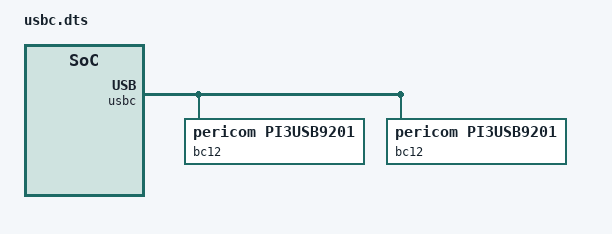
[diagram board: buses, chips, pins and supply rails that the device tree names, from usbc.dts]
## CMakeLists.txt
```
<<<<<<< HEAD   (caf383 driver: add ICM-42607 driver support)
=======
# Copyright 2020 The Chromium OS Authors. All rights reserved.
# Use of this source code is governed by a BSD-style license that can be
# found in the LICENSE file.
# SPDX-License-Identifier: Apache-2.0

cmake_minimum_required(VERSION 3.13.1)

find_package(Zephyr REQUIRED HINTS $ENV{ZEPHYR_BASE})
project(volteer)

set(PLATFORM_EC_BOARD "${PLATFORM_EC}/board/volteer" CACHE PATH
    "Path to the platform/ec board directory")
set(PLATFORM_EC_BASEBOARD "${PLATFORM_EC}/baseboard/volteer" CACHE PATH
    "Path to the platform/ec baseboard directory")

# Include board specific header files
zephyr_library_include_directories(
  include
  "${PLATFORM_EC_BASEBOARD}"
  "${PLATFORM_EC_BOARD}")

# Include selected EC source for the baseboard
zephyr_library_sources_ifdef(CONFIG_PLATFORM_EC_BATTERY
  "${PLATFORM_EC_BASEBOARD}/battery_presence.c")
zephyr_library_sources_ifdef(CONFIG_PLATFORM_EC_CHARGE_MANAGER
  "${PLATFORM_EC_BASEBOARD}/charger.c")
zephyr_library_sources_ifdef(CONFIG_PLATFORM_EC_CBI_EEPROM
  "${PLATFORM_EC_BASEBOARD}/cbi.c"
  "${PLATFORM_EC_BASEBOARD}/cbi_ec_fw_config.c")
zephyr_library_sources_ifdef(CONFIG_PLATFORM_EC_POWERSEQ
  "${PLATFORM_EC_BASEBOARD}/power.c")
zephyr_library_sources_ifdef(CONFIG_PLATFORM_EC_USB_POWER_DELIVERY
  "${PLATFORM_EC_BASEBOARD}/usb_pd_policy.c")
zephyr_library_sources_ifdef(CONFIG_PLATFORM_EC_USBC
  "${PLATFORM_EC_BASEBOARD}/usbc_config.c")

# Include selected EC source for the board
zephyr_library_sources_ifdef(CONFIG_PLATFORM_EC_BATTERY
  "${PLATFORM_EC_BOARD}/battery.c")
zephyr_library_sources_ifdef(CONFIG_PLATFORM_EC_CBI_EEPROM
  "${PLATFORM_EC_BOARD}/cbi.c")
zephyr_library_sources_ifdef(CONFIG_PLATFORM_EC_LED_COMMON
  "${PLATFORM_EC_BOARD}/led.c")
zephyr_library_sources_ifdef(CONFIG_PLATFORM_EC_USBC
  "${PLATFORM_EC_BOARD}/usbc_config.c")
>>>>>>> CHANGE (2eb53a lid_angle: Create a common callback for lid angle changes)
```

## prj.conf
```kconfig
<<<<<<< HEAD   (8c53b8 battery: Set EC_BATT_FLAG_INVALID_DATA correctly)
=======
# Copyright 2021 The Chromium OS Authors. All rights reserved.
# Use of this source code is governed by a BSD-style license that can be
# found in the LICENSE file.

CONFIG_CROS_EC=y

CONFIG_WATCHDOG=y

# SoC configuration
CONFIG_AP=y
CONFIG_AP_X86_INTEL_TGL=y
CONFIG_FPU=y
CONFIG_ARM_MPU=y

# eSPI
CONFIG_ESPI=y
CONFIG_PLATFORM_EC_ESPI_VW_SLP_S4=y
CONFIG_PLATFORM_EC_ESPI_VW_SLP_S5=y

CONFIG_PLATFORM_EC=y
CONFIG_SHIMMED_TASKS=y
CONFIG_I2C=y
CONFIG_PLATFORM_EC_EXTPOWER_GPIO=y
CONFIG_PLATFORM_EC_LID_SWITCH=y
CONFIG_PLATFORM_EC_POWER_BUTTON=y
CONFIG_PLATFORM_EC_CBI_EEPROM=y
CONFIG_PLATFORM_EC_CONSOLE_CMD_HCDEBUG=n
CONFIG_PLATFORM_EC_CONSOLE_CMD_CHGRAMP=n

# Keyboard
CONFIG_PLATFORM_EC_KEYBOARD=y
CONFIG_PLATFORM_EC_KEYBOARD_COL2_INVERTED=y
CONFIG_PLATFORM_EC_KEYBOARD_KEYPAD=y
CONFIG_PLATFORM_EC_KEYBOARD_PWRBTN_ASSERTS_KSI2=y
CONFIG_PLATFORM_EC_VOLUME_BUTTONS=y

# Battery
CONFIG_PLATFORM_EC_BATTERY=y
CONFIG_PLATFORM_EC_BATTERY_SMART=y
CONFIG_PLATFORM_EC_BATTERY_FUEL_GAUGE=y
CONFIG_PLATFORM_EC_BATTERY_CUT_OFF=y

CONFIG_PLATFORM_EC_BATTERY_HW_PRESENT_CUSTOM=y
CONFIG_PLATFORM_EC_BATTERY_REVIVE_DISCONNECT=y
CONFIG_PLATFORM_EC_CHARGER_DISCHARGE_ON_AC=y
CONFIG_PLATFORM_EC_CHARGER_DISCHARGE_ON_AC_CHARGER=y

# Keyboard Backlight
CONFIG_PLATFORM_EC_PWM_KBLIGHT=y

# LED
CONFIG_PLATFORM_EC_LED_COMMON=y
CONFIG_PLATFORM_EC_LED_PWM=y
CONFIG_PLATFORM_EC_CONSOLE_CMD_LEDTEST=n

# Power Sequencing
CONFIG_PLATFORM_EC_POWERSEQ=y
CONFIG_PLATFORM_EC_POWERSEQ_RTC_RESET=y
CONFIG_PLATFORM_EC_POWERSEQ_S0IX=y
CONFIG_PLATFORM_EC_POWERSEQ_S4=y
CONFIG_PLATFORM_EC_POWER_SLEEP_FAILURE_DETECTION=y
CONFIG_PLATFORM_EC_THROTTLE_AP=y

# PWM
CONFIG_PWM=y
CONFIG_PWM_SHELL=n
CONFIG_PLATFORM_EC_PWM=y

# Fan
CONFIG_PLATFORM_EC_FAN=y
CONFIG_SENSOR=y
CONFIG_SENSOR_SHELL=n
CONFIG_TACH_NPCX=y

# Sensors
CONFIG_PLATFORM_EC_MOTIONSENSE=y
CONFIG_PLATFORM_EC_ACCEL_FIFO=y
CONFIG_PLATFORM_EC_ACCEL_INTERRUPTS=y
CONFIG_PLATFORM_EC_ALS=y
CONFIG_PLATFORM_EC_ALS_COUNT=1
CONFIG_PLATFORM_EC_DYNAMIC_MOTION_SENSOR_COUNT=y
CONFIG_PLATFORM_EC_GMR_TABLET_MODE=y
CONFIG_PLATFORM_EC_LID_ANGLE=y
CONFIG_PLATFORM_EC_LID_ANGLE_UPDATE=y
CONFIG_PLATFORM_EC_SENSOR_TIGHT_TIMESTAMPS=y
CONFIG_PLATFORM_EC_TABLET_MODE=y

# Sensor Drivers
CONFIG_PLATFORM_EC_ACCEL_BMA255=y
CONFIG_PLATFORM_EC_ACCELGYRO_BMI260=y
CONFIG_PLATFORM_EC_ACCELGYRO_BMI_COMM_I2C=y
CONFIG_PLATFORM_EC_ALS_TCS3400=y

# Temperature sensors
CONFIG_PLATFORM_EC_TEMP_SENSOR=y
CONFIG_PLATFORM_EC_TEMP_SENSOR_POWER=y
CONFIG_PLATFORM_EC_THERMISTOR=y

# Miscellaneous configs
CONFIG_PLATFORM_EC_BOARD_RESET_AFTER_POWER_ON=y
CONFIG_PLATFORM_EC_HIBERNATE_PSL=y

# MKBP event
CONFIG_PLATFORM_EC_MKBP_EVENT=y
CONFIG_PLATFORM_EC_MKBP_USE_GPIO=y

# USB-C and charging
CONFIG_PLATFORM_EC_CHARGER_ISL9241=y
CONFIG_PLATFORM_EC_CHARGER_MIN_BAT_PCT_FOR_POWER_ON=3
CONFIG_PLATFORM_EC_CHARGER_MIN_BAT_PCT_FOR_POWER_ON_WITH_AC=1
CONFIG_PLATFORM_EC_CHARGER_MIN_POWER_MW_FOR_POWER_ON_WITH_BATT=15000
CONFIG_PLATFORM_EC_CHARGER_MIN_POWER_MW_FOR_POWER_ON=15001
CONFIG_PLATFORM_EC_CHARGER_SENSE_RESISTOR=10
CONFIG_PLATFORM_EC_CHARGER_SENSE_RESISTOR_AC=10
CONFIG_PLATFORM_EC_BC12_DETECT_PI3USB9201=y
CONFIG_PLATFORM_EC_USB_PID=0x503e
CONFIG_PLATFORM_EC_USBC_PPC_SN5S330=y
CONFIG_PLATFORM_EC_USBC_PPC_SYV682X=y
CONFIG_PLATFORM_EC_USBC_RETIMER_INTEL_BB=y
CONFIG_PLATFORM_EC_USB_DRP_ACC_TRYSRC=y
CONFIG_PLATFORM_EC_USB_MUX_VIRTUAL=y
CONFIG_PLATFORM_EC_USB_PD_DEBUG_FIXED_LEVEL=y
CONFIG_PLATFORM_EC_USB_PD_DEBUG_LEVEL=2
CONFIG_PLATFORM_EC_USB_PD_ALT_MODE_UFP=y
CONFIG_PLATFORM_EC_USB_PD_VBUS_MEASURE_CHARGER=y
CONFIG_PLATFORM_EC_USB_PD_DISCHARGE_PPC=y
CONFIG_PLATFORM_EC_USB_PD_FRS=y
CONFIG_PLATFORM_EC_USB_PD_FRS_PPC=y
CONFIG_PLATFORM_EC_USB_PD_REV30=y
CONFIG_PLATFORM_EC_BATTERY_FUEL_GAUGE=y
CONFIG_PLATFORM_EC_USB_PD_VBUS_DETECT_TCPC=y
CONFIG_PLATFORM_EC_USB_PD_TCPM_PS8815=y
CONFIG_PLATFORM_EC_USB_PD_TCPM_RT1715=y
CONFIG_PLATFORM_EC_USB_PD_TCPM_TUSB422=y
CONFIG_PLATFORM_EC_USB_PD_TCPM_MUX=y
CONFIG_PLATFORM_EC_USBC_PPC_DEDICATED_INT=y
CONFIG_PLATFORM_EC_USB_A_PORT_COUNT=1
CONFIG_PLATFORM_EC_CONSOLE_CMD_PPC_DUMP=n
CONFIG_PLATFORM_EC_CONSOLE_CMD_TCPC_DUMP=n

# Flash
CONFIG_PLATFORM_EC_CONSOLE_CMD_FLASH=n

# RTC
CONFIG_PLATFORM_EC_RTC=y

CONFIG_SYSCON=y
>>>>>>> CHANGE (eb25e8 Merge remote-tracking branch cros/main into firmware-dedede-)
```

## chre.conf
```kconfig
# Copyright 2021 The Chromium OS Authors. All rights reserved.
# Use of this source code is governed by a BSD-style license that can be
# found in the LICENSE file.

# To build using CHRE append the contents of this file to prj.conf then run:
# $ zmake configure -b zephyr/projects/volteer/volteer

CONFIG_CHRE=y
CONFIG_STD_CPP11=y
```

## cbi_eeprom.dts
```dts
/* Copyright 2021 The Chromium OS Authors. All rights reserved.
 * Use of this source code is governed by a BSD-style license that can be
 * found in the LICENSE file.
 */

/ {
	aliases {
		cbi-wp = &gpio_wp;
	};
};

&i2c7_0 {
	cbi_eeprom: eeprom@50 {
		compatible = "atmel,at24";
		reg = <0x50>;
		label = "EEPROM_CBI";
		size = <2048>;
		pagesize = <16>;
		address-width = <8>;
		timeout = <5>;
	};
};

&cbi_ssfc_base_sensor {
	base_sensor_bmi160: bmi160 {
		compatible = "named-cbi-ssfc-value";
		status = "okay";

		value = <1>;
	};
	base_sensor_icm426xx: icm426xx {
		compatible = "named-cbi-ssfc-value";
		status = "okay";

		value = <2>;
	};
	base_sensor_kx022: kx022 {
		compatible = "named-cbi-ssfc-value";
		status = "okay";

		value = <3>;
	};
};

&cbi_ssfc_lid_sensor {
	lid_sensor_bma255: bma255 {
		compatible = "named-cbi-ssfc-value";
		status = "okay";

		value = <1>;
	};
	lid_sensor_kx022: kx022 {
		compatible = "named-cbi-ssfc-value";
		status = "okay";

		value = <2>;
	};
};

&cbi_ssfc_lightbar {
	lightbar_10_led: 10_led {
		compatible = "named-cbi-ssfc-value";
		status = "okay";

		value = <1>;
	};
	lightbar_12_led: 12_led {
		compatible = "named-cbi-ssfc-value";
		status = "okay";

		value = <2>;
	};
};
```

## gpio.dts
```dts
<<<<<<< HEAD   (8c53b8 battery: Set EC_BATT_FLAG_INVALID_DATA correctly)
=======
/* Copyright 2021 The Chromium OS Authors. All rights reserved.
 * Use of this source code is governed by a BSD-style license that can be
 * found in the LICENSE file.
 */

/ {
	named-gpios {
		compatible = "named-gpios";

		ec_lid_open {
			gpios = <&gpiod 2 GPIO_INPUT>;
			enum-name = "GPIO_LID_OPEN";
		};
		gpio_ec_wp_l: ec_wp_l {
			#gpio-cells = <0>;
			gpios = <&gpioa 1 GPIO_INPUT>;
			enum-name = "GPIO_EC_WP_L";
		};
		wp_l {
			gpios = <&gpioa 1 GPIO_INPUT>;
			enum-name = "GPIO_WP_L";
		};
		h1_ec_pwr_btn_odl {
			gpios = <&gpio0 1 GPIO_INPUT>;
			enum-name = "GPIO_POWER_BUTTON_L";
		};
		acok_od {
			gpios = <&gpio0 0 GPIO_INPUT>;
			enum-name = "GPIO_AC_PRESENT";
		};
		slp_s0_l {
			gpios = <&gpiod 5 GPIO_INPUT>;
			enum-name = "GPIO_PCH_SLP_S0_L";
		};
		slp_s3_l {
			gpios = <&gpioa 5 GPIO_INPUT>;
			enum-name = "GPIO_PCH_SLP_S3_L";
		};
		pch_slp_sus_l {
			gpios = <&gpiod 7 GPIO_INPUT>;
			enum-name = "GPIO_PCH_SLP_SUS_L";
		};
		slp_sus_l {
			gpios = <&gpiod 7 GPIO_INPUT>;
			enum-name = "GPIO_SLP_SUS_L";
		};
		pg_ec_rsmrst_odl {
			gpios = <&gpioe 2 GPIO_INPUT>;
			enum-name = "GPIO_PG_EC_RSMRST_ODL";
		};
		pg_ec_dsw_pwrok {
			gpios = <&gpioc 7 GPIO_INPUT>;
			enum-name = "GPIO_PG_EC_DSW_PWROK";
		};
		pg_ec_all_sys_pwrgd {
			gpios = <&gpiof 4 GPIO_INPUT>;
			enum-name = "GPIO_PG_EC_ALL_SYS_PWRGD";
		};
		gpio_ec_imu_int_l: ec_imu_int_l {
			gpios = <&gpio5 6 GPIO_INPUT>;
			enum-name = "GPIO_EC_IMU_INT_L";
		};
		gpio_ec_als_rgb_int_l: ec_als_rgb_int_l {
			gpios = <&gpiod 4 GPIO_INPUT>;
			enum-name = "GPIO_EC_ALS_RGB_INT_L";
		};
		tablet_mode_l {
			gpios = <&gpio9 5 GPIO_INPUT>;
			enum-name = "GPIO_TABLET_MODE_L";
		};
		ec_accel_int {
			gpios = <&gpio8 1 GPIO_INPUT_PULL_UP>;
			enum-name = "GPIO_EC_ACCEL_INT";
		};
		usb_c0_tcpc_int_odl {
			gpios = <&gpioe 0 GPIO_INPUT>;
			enum-name = "GPIO_USB_C0_TCPC_INT_ODL";
		};
		usb_c1_tcpc_int_odl {
			gpios = <&gpioa 2 GPIO_INPUT>;
			enum-name = "GPIO_USB_C1_TCPC_INT_ODL";
		};
		usb_c0_ppc_int_odl {
			gpios = <&gpio6 2 GPIO_INPUT>;
			enum-name = "GPIO_USB_C0_PPC_INT_ODL";
		};
		usb_c1_ppc_int_odl {
			gpios = <&gpiof 5 GPIO_INPUT>;
			enum-name = "GPIO_USB_C1_PPC_INT_ODL";
		};
		gpio_usb_c0_bc12_int_odl: usb_c0_bc12_int_odl {
			gpios = <&gpioe 4 GPIO_INPUT>;
			enum-name = "GPIO_USB_C0_BC12_INT_ODL";
		};
		gpio_usb_c1_mix_int_odl: usb_c1_mix_int_odl {
			#gpio-cells = <0>;
			gpios = <&gpio0 3 GPIO_INPUT>;
			enum-name = "GPIO_USB_C1_MIX_INT_ODL";
		};
		gpio_usb_c1_bc12_int_odl: usb_c1_bc12_int_odl {
			#gpio-cells = <0>;
			gpios = <&gpio0 3 GPIO_INPUT>;
			enum-name = "GPIO_USB_C1_BC12_INT_ODL";
		};
		usb_c1_frs_en {
			gpios = <&gpio9 4 GPIO_OUT_LOW>;
			enum-name = "GPIO_USB_C1_FRS_EN";
		};
		ec_voldn_btn_odl {
			gpios = <&gpio9 3 GPIO_INPUT_PULL_UP>;
			enum-name = "GPIO_VOLUME_DOWN_L";
		};
		ec_volup_btn_odl {
			gpios = <&gpio9 7 GPIO_INPUT_PULL_UP>;
			enum-name = "GPIO_VOLUME_UP_L";
		};
		en_pp3300_a {
			gpios = <&gpioa 3 GPIO_OUT_LOW>;
			enum-name = "GPIO_EN_PP3300_A";
		};
		en_pp5000 {
			gpios = <&gpioa 4 GPIO_OUT_LOW>;
			enum-name = "GPIO_EN_PP5000";
		};
		en_pp5000_a {
			gpios = <&gpioa 4 GPIO_OUT_LOW>;
			enum-name = "GPIO_EN_PP5000_A";
		};
		en_ppvar_vccin {
			gpios = <&gpio4 3 GPIO_OUT_LOW>;
			enum-name = "GPIO_EN_PPVAR_VCCIN";
		};
		ec_pch_dsw_pwrok {
			gpios = <&gpioc 0 GPIO_OUT_LOW>;
			enum-name = "GPIO_PCH_DSW_PWROK";
		};
		ec_rst_odl {
			gpios = <&gpio0 2 GPIO_INPUT>;
		};
		ec_pch_sys_pwrok {
			gpios = <&gpio3 7 GPIO_OUT_LOW>;
			enum-name = "GPIO_EC_PCH_SYS_PWROK";
		};
		ec_pch_rsmrst_odl {
			gpios = <&gpioa 6 GPIO_ODR_LOW>;
			enum-name = "GPIO_PCH_RSMRST_L";
		};
		ec_pch_pwr_btn_odl {
			gpios = <&gpioc 1 GPIO_ODR_HIGH>;
			enum-name = "GPIO_PCH_PWRBTN_L";
		};
		ec_pch_rtcrst {
			gpios = <&gpio7 6 GPIO_OUT_LOW>;
			enum-name = "GPIO_PCH_RTCRST";
		};
		ec_pch_wake_odl {
			gpios = <&gpio7 4 GPIO_ODR_HIGH>;
			enum-name = "GPIO_EC_PCH_WAKE_ODL";
		};
		ec_entering_rw {
			gpios = <&gpioe 3 GPIO_OUT_LOW>;
			enum-name = "GPIO_ENTERING_RW";
		};
		ec_prochot_odl {
			gpios = <&gpio6 3 GPIO_ODR_HIGH>;
			enum-name = "GPIO_CPU_PROCHOT";
		};
		ec_prochot_in_l {
			gpios = <&gpiof 0 GPIO_INPUT>;
			enum-name = "GPIO_EC_PROCHOT_IN_L";
		};
		sys_rst_odl {
			gpios = <&gpioc 5 GPIO_ODR_HIGH>;
			enum-name = "GPIO_SYS_RESET_L";
		};
		ec_pch_int_odl {
			gpios = <&gpiob 0 GPIO_ODR_HIGH>;
			enum-name = "GPIO_EC_INT_L";
		};
		en_pp5000_usba {
			gpios = <&gpioc 6 GPIO_OUT_LOW>;
			enum-name = "GPIO_EN_PP5000_USBA";
		};
		usb_a_low_pwr_od {
			gpios = <&gpio6 6 GPIO_ODR_LOW>;
			enum-name = "GPIO_USB_A_LOW_PWR_OD";
		};
		gpio_usb_c1_rt_rst_odl_boardid_0: usb_c1_rt_rst_odl_boardid_0 {
			#gpio-cells = <0>;
			gpios = <&gpio3 2 GPIO_ODR_LOW>;
		};
		gpio_usb_c1_rt_rst_odl: usb_c1_rt_rst_odl {
			#gpio-cells = <0>;
			gpios = <&gpio8 3 GPIO_ODR_LOW>;
			enum-name = "GPIO_USB_C1_RT_RST_ODL";
		};
		usb_c0_oc_odl {
			gpios = <&gpiob 1 GPIO_ODR_HIGH>;
			enum-name = "GPIO_USB_C0_OC_ODL";
		};
		usb_c1_oc_odl {
			gpios = <&gpio5 0 GPIO_ODR_HIGH>;
			enum-name = "GPIO_USB_C1_OC_ODL";
		};
		usb_c1_rt_int_odl {
			gpios = <&gpiof 3 GPIO_INPUT>;
		};
		ec_h1_packet_mode {
			gpios = <&gpio7 5 GPIO_OUT_LOW>;
			enum-name = "GPIO_PACKET_MODE_EN";
		};
		m2_ssd_pln {
			gpios = <&gpioa 0 GPIO_ODR_HIGH>;
			enum-name = "GPIO_M2_SSD_PLN";
		};
		m2_ssd_pla {
			gpios = <&gpio7 0 GPIO_INPUT>;
		};
		ccd_mode_odl {
			gpios = <&gpioe 5 GPIO_INPUT>;
		};
		ec_slp_s0ix {
			gpios = <&gpio7 2 GPIO_INPUT_PULL_UP>;
		};
		gpio_unused_gpio41: unused_gpio41 {
			#gpio-cells = <0>;
			gpios = <&gpio4 1 GPIO_INPUT_PULL_UP>;
			enum-name = "GPIO_USB_C1_LS_EN";
		};
		ec_kb_bl_en {
			gpios = <&gpio8 6 GPIO_INPUT_PULL_UP>;
		};
		ec_espi_alert_l {
			gpios = <&gpio5 7 GPIO_INPUT_PULL_UP>;
		};
		ec_edp_bl_en {
			gpios = <&gpiod 3 GPIO_OUT_HIGH>;
			enum-name = "GPIO_ENABLE_BACKLIGHT";
		};
		ec_i2c0_sensor_scl {
			gpios = <&gpiob 5 GPIO_INPUT>;
			enum-name = "GPIO_EC_I2C0_SENSOR_SCL";
		};
		ec_i2c0_sensor_sda {
			gpios = <&gpiob 4 GPIO_INPUT>;
			enum-name = "GPIO_EC_I2C0_SENSOR_SDA";
		};
		ec_i2c1_usb_c0_scl {
			gpios = <&gpio9 0 GPIO_INPUT>;
			enum-name = "GPIO_EC_I2C1_USB_C0_SCL";
		};
		ec_i2c1_usb_c0_sda {
			gpios = <&gpio8 7 GPIO_INPUT>;
			enum-name = "GPIO_EC_I2C1_USB_C0_SDA";
		};
		ec_i2c2_usb_c1_scl {
			gpios = <&gpio9 2 GPIO_INPUT>;
			enum-name = "GPIO_EC_I2C2_USB_C1_SCL";
		};
		ec_i2c2_usb_c1_sda {
			gpios = <&gpio9 1 GPIO_INPUT>;
			enum-name = "GPIO_EC_I2C2_USB_C1_SDA";
		};
		ec_i2c3_usb_1_mix_scl {
			gpios = <&gpiod 1 GPIO_INPUT>;
			enum-name = "GPIO_EC_I2C3_USB_1_MIX_SCL";
		};
		ec_i2c3_usb_1_mix_sda {
			gpios = <&gpiod 0 GPIO_INPUT>;
			enum-name = "GPIO_EC_I2C3_USB_1_MIX_SDA";
		};
		ec_i2c5_battery_scl {
			gpios = <&gpio3 3 GPIO_INPUT>;
			enum-name = "GPIO_EC_I2C5_BATTERY_SCL";
		};
		ec_i2c5_battery_sda {
			gpios = <&gpio3 6 GPIO_INPUT>;
			enum-name = "GPIO_EC_I2C5_BATTERY_SDA";
		};
		ec_i2c7_eeprom_pwr_scl_r {
			gpios = <&gpiob 3 GPIO_INPUT>;
			enum-name = "GPIO_EC_I2C7_EEPROM_PWR_SCL_R";
		};
		ec_i2c7_eeprom_pwr_sda_r {
			gpios = <&gpiob 2 GPIO_INPUT>;
			enum-name = "GPIO_EC_I2C7_EEPROM_PWR_SDA_R";
		};
		/*
		 * TODO(b:190743662) Cleanup to possibly remove the enum
		 */
		ec_batt_pres_odl {
			gpios = <&gpioe 1 GPIO_INPUT>;
			enum-name = "GPIO_BATT_PRES_ODL";
		};
		gpio_en_pp5000_fan: en_pp5000_fan {
			gpios = <&gpio6 1 GPIO_OUT_LOW>;
			enum-name = "GPIO_EN_PP5000_FAN";
		};
		ec_kso_02_inv {
			gpios = <&gpio1 7 GPIO_OUT_LOW>;
			enum-name = "GPIO_KBD_KSO2";
		};
	};

	def-lvol-io-list {
		compatible = "nuvoton,npcx-lvolctrl-def";
		lvol-io-pads = <&lvol_iob4 &lvol_iob5>; /* I2C_SDA0 & SCL0 */
	};

	unused-pins {
		compatible = "unused-gpios";
		unused-gpios =
			<&gpio3 4 0>,
			<&gpio4 1 0>,
			<&gpio5 7 0>, /* EC_ESPI_ALERT_L not stuffed */
			<&gpio9 6 0>,
			<&gpio7 2 0>, /* EC_SLP_S0IX not stuffed */
			<&gpio8 6 0>, /* EC_KB_BL_EN not stuffed */
			<&gpioa 7 0>, /* EN_PP5000_USB_AG not stuffed */
			<&gpiof 2 0>,
			/*
			 * GPIOB6 cannot be configured as an input.
			 * Drive output low so signal level doesn't
			 * depend on default setting of PxDOUT register.
			 */
			 <&gpiob 6 GPIO_OUTPUT_LOW>;
	};
};
>>>>>>> CHANGE (eb25e8 Merge remote-tracking branch cros/main into firmware-dedede-)
```

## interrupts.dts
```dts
/* Copyright 2022 The Chromium OS Authors. All rights reserved.
 * Use of this source code is governed by a BSD-style license that can be
 * found in the LICENSE file.
 */

/ {
	aliases {
		int-wp = &int_wp;
	};

	gpio-interrupts {
		compatible = "cros-ec,gpio-interrupts";

		int_imu: imu {
			irq-pin = <&gpio_ec_imu_int_l>;
			flags = <GPIO_INT_EDGE_FALLING>;
			handler = "bmi260_interrupt";
		};
		int_tablet_mode: tablet_mode {
			irq-pin = <&gpio_tablet_mode_l>;
			flags = <GPIO_INT_EDGE_BOTH>;
			handler = "gmr_tablet_switch_isr";
		};
		int_ac_present: ac_present {
			irq-pin = <&XG>;
			flags = <GPIO_INT_EDGE_BOTH>;
			handler = "XH";
		};
		int_ac_present: ac_present {
			irq-pin = <&gpio_acok_od>;
			flags = <GPIO_INT_EDGE_BOTH>;
			handler = "extpower_interrupt";
		};
		int_lid_open: lid_open {
			irq-pin = <&gpio_ec_lid_open>;
			flags = <GPIO_INT_EDGE_BOTH>;
			handler = "lid_interrupt";
		};
		int_wp: wp {
			irq-pin = <&gpio_ec_wp_l>;
			flags = <GPIO_INT_EDGE_BOTH>;
			handler = "switch_interrupt";
		};
		int_pch_slp_s0: pch_slp_s0 {
			irq-pin = <&gpio_slp_s0_l>;
			flags = <GPIO_INT_EDGE_BOTH>;
			handler = "power_signal_interrupt";
		};
		int_pch_slp_s3: pch_slp_s3 {
			irq-pin = <&gpio_slp_s3_l>;
			flags = <GPIO_INT_EDGE_BOTH>;
			handler = "power_signal_interrupt";
		};
		int_pch_slp_sus: pch_slp_sus {
			irq-pin = <&gpio_pch_slp_sus_l>;
			flags = <GPIO_INT_EDGE_BOTH>;
			handler = "power_signal_interrupt";
		};
		int_dsw_pwrok: dsw_pwrok {
			irq-pin = <&gpio_pg_ec_dsw_pwrok>;
			flags = <GPIO_INT_EDGE_BOTH>;
			handler = "power_signal_interrupt";
		};
		int_pg_rsmrst: pg_rsmrst {
			irq-pin = <&gpio_pg_ec_rsmrst_odl>;
			flags = <GPIO_INT_EDGE_BOTH>;
			handler = "power_signal_interrupt";
		};
		int_ec_pch_dsw_pwrok: ec_pch_dsw_pwrok {
			irq-pin = <&gpio_ec_pch_dsw_pwrok>;
			flags = <GPIO_INT_EDGE_BOTH>;
			handler = "power_signal_interrupt";
		};
		int_pg_all_pwrgd: pg_all_pwrgd {
			irq-pin = <&gpio_pg_ec_all_sys_pwrgd>;
			flags = <GPIO_INT_EDGE_BOTH>;
			handler = "power_signal_interrupt";
		};
		int_pwr_btn: pwr_btn {
			irq-pin = <&gpio_h1_ec_pwr_btn_odl>;
			flags = <GPIO_INT_EDGE_BOTH>;
			handler = "power_signal_interrupt";
		};
		int_usb_c0_tcpc: usb_c0_tcpc {
			irq-pin = <&gpio_usb_c0_tcpc_int_odl>;
			flags = <GPIO_INT_EDGE_BOTH>;
			handler = "tcpc_alert_event";
		};
		int_usb_c1_tcpc: usb_c1_tcpc {
			irq-pin = <&gpio_usb_c1_tcpc_int_odl>;
			flags = <GPIO_INT_EDGE_BOTH>;
			handler = "tcpc_alert_event";
		};
		int_als_rgb: als_rgb {
			irq-pin = <&gpio_ec_als_rgb_int_l>;
			flags = <GPIO_INT_EDGE_FALLING>;
			handler = "tcs3400_interrupt";
		};
		int_usb_c0_ppc: usb_c0_ppc {
			irq-pin = <&gpio_usb_c0_ppc_int_odl>;
			flags = <GPIO_INT_EDGE_BOTH>;
			handler = "ppc_interrupt";
		};
		int_usb_c1_ppc: usb_c1_ppc {
			irq-pin = <&gpio_usb_c1_ppc_int_odl>;
			flags = <GPIO_INT_EDGE_BOTH>;
			handler = "ppc_interrupt";
		};
		int_usb_c0_bc12: usb_c0_bc12 {
			irq-pin = <&gpio_usb_c0_bc12_int_odl>;
			flags = <GPIO_INT_EDGE_BOTH>;
			handler = "bc12_interrupt";
		};
		int_usb_c1_mix_bc12: usb_c1_mix_bc12 {
			irq-pin = <&gpio_usb_c1_mix_int_odl>;
			flags = <GPIO_INT_EDGE_BOTH>;
			handler = "bc12_interrupt";
		};
		int_prochot_in: prochot_in {
			irq-pin = <&gpio_ec_prochot_in_l>;
			flags = <GPIO_INT_EDGE_BOTH>;
			handler = "throttle_ap_prochot_input_interrupt";
		};
		int_volume_up: volume_up {
			irq-pin = <&gpio_ec_volup_btn_odl>;
			flags = <GPIO_INT_EDGE_BOTH>;
			handler = "button_interrupt";
		};
		int_volume_down: volume_down {
			irq-pin = <&gpio_ec_voldn_btn_odl>;
			flags = <GPIO_INT_EDGE_BOTH>;
			handler = "button_interrupt";
		};
	};
};
```

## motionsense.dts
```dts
/*
 * Copyright (c) 2020 The Chromium OS Authors
 *
 * SPDX-License-Identifier: Apache-2.0
 */

#include <dt-bindings/motionsense/utils.h>


/ {
	aliases {
		/*
		 * motion sense's <>_INT_EVENT is handled
		 * by alias. Using the alias, each driver creates
		 * its own <>_INT_EVENT.
		 */
		bmi260-int = &base_accel;
		tcs3400-int = &als_clear;
	};

	/*
	 * Declare mutexes used by sensor drivers.
	 * A mutex node is used to create an instance of mutex_t.
	 * A mutex node is referenced by a sensor node if the
	 * corresponding sensor driver needs to use the
	 * instance of the mutex.
	 */
	motionsense-mutex {
		compatible = "cros-ec,motionsense-mutex";
		mutex_bma255: bma255-mutex {
			label = "BMA255_MUTEX";
		};

		mutex_bmi260: bmi260-mutex {
			label = "BMI260_MUTEX";
		};
	};

	/* Rotation matrix used by drivers. */
	motionsense-rotation-ref {
		compatible = "cros-ec,motionsense-rotation-ref";
		lid_rot_ref: lid-rotation-ref {
			mat33 = <1 0 0
				 0 (-1) 0
				 0 0 (-1)>;
		};
		base_rot_ref: base-rotation-ref {
			mat33 = <0 1 0
				 (-1) 0 0
				 0 0 1>;
		};
	};

	/*
	 * Driver specific data. A driver-specific data can be shared with
	 * different motion sensors while they are using the same driver.
	 *
	 * If a node's compatible starts with "cros-ec,accelgyro-", it is for
	 * a common structure defined in accelgyro.h.
	 * e.g) compatible = "cros-ec,accelgyro-als-drv-data" is for
	 * "struct als_drv_data_t" in accelgyro.h
	 */
	motionsense-sensor-data {
		bma255_data: bma255-drv-data {
			compatible = "cros-ec,drvdata-bma255";
			status = "okay";
		};

		bmi260_data: bmi260-drv-data {
			compatible = "cros-ec,drvdata-bmi260";
			status = "okay";
		};

		tcs_clear_data: tcs3400-clear-drv-data {
			compatible = "cros-ec,drvdata-tcs3400-clear";
			status = "okay";

			als-drv-data {
				compatible = "cros-ec,accelgyro-als-drv-data";
				als-cal {
					scale = <1>;
					uscale = <0>;
					offset = <0>;
					als-channel-scale {
					compatible =
					"cros-ec,accelgyro-als-channel-scale";
						k-channel-scale = <1>;
						cover-scale = <1>;
					};
				};
			};
		};

		tcs_rgb_data: tcs3400-rgb-drv-data {
			compatible = "cros-ec,drvdata-tcs3400-rgb";
			status = "okay";

			/* node for rgb_calibration_t defined in accelgyro.h */
			rgb_calibration {
				compatible =
					"cros-ec,accelgyro-rgb-calibration";

				irt = <1>;

				rgb-cal-x {
					offset = <0>;
					coeff = <0 0 0 0>;
					als-channel-scale {
					compatible =
					"cros-ec,accelgyro-als-channel-scale";
						k-channel-scale = <1>;
						cover-scale = <1>;
					};
				};
				rgb-cal-y {
					offset = <0>;
					coeff = <0 0 0 0>;
					als-channel-scale {
					compatible =
					"cros-ec,accelgyro-als-channel-scale";
						k-channel-scale = <1>;
						cover-scale = <1>;
					};
				};
				rgb-cal-z {
					offset = <0>;
					coeff = <0 0 0 0>;
					als-channel-scale {
					compatible =
					"cros-ec,accelgyro-als-channel-scale";
						k-channel-scale = <1>;
						cover-scale = <1>;
					};
				};
			};
		};
	};

	/*
	 * List of motion sensors that creates motion_sensors array.
	 * The label "lid_accel" and "base_accel" are used to indicate
	 * motion sensor IDs for lid angle calculation.
	 */
	motionsense-sensor {
		lid_accel: lid-accel {
			compatible = "cros-ec,bma255";
			status = "okay";

			label = "Lid Accel";
			active-mask = "SENSOR_ACTIVE_S0_S3";
			location = "MOTIONSENSE_LOC_LID";
			mutex = <&mutex_bma255>;
			port = <&i2c_sensor>;
			rot-standard-ref = <&lid_rot_ref>;
			default-range = <2>;
			drv-data = <&bma255_data>;
			i2c-spi-addr-flags = "BMA2x2_I2C_ADDR1_FLAGS";
			configs {
				compatible =
					"cros-ec,motionsense-sensor-config";
				ec-s0 {
					label = "SENSOR_CONFIG_EC_S0";
					odr = <(10000 | ROUND_UP_FLAG)>;
				};
				ec-s3 {
					label = "SENSOR_CONFIG_EC_S3";
					odr = <(10000 | ROUND_UP_FLAG)>;
				};
			};
		};

		base_accel: base-accel {
			compatible = "cros-ec,bmi260-accel";
			status = "okay";

			label = "Base Accel";
			active-mask = "SENSOR_ACTIVE_S0_S3";
			location = "MOTIONSENSE_LOC_BASE";
			mutex = <&mutex_bmi260>;
			port = <&i2c_sensor>;
			rot-standard-ref = <&base_rot_ref>;
			default-range = <4>;
			drv-data = <&bmi260_data>;
			i2c-spi-addr-flags = "BMI260_ADDR0_FLAGS";
			configs {
				compatible =
					"cros-ec,motionsense-sensor-config";
				ec-s0 {
					label = "SENSOR_CONFIG_EC_S0";
					odr = <(10000 | ROUND_UP_FLAG)>;
					ec-rate = <(100 * USEC_PER_MSEC)>;
				};
				ec-s3 {
					label = "SENSOR_CONFIG_EC_S3";
					odr = <(10000 | ROUND_UP_FLAG)>;
					ec-rate = <(100 * USEC_PER_MSEC)>;
				};
			};
		};

		base-gyro {
			compatible = "cros-ec,bmi260-gyro";
			status = "okay";

			label = "Base Gyro";
			active-mask = "SENSOR_ACTIVE_S0_S3";
			location = "MOTIONSENSE_LOC_BASE";
			mutex = <&mutex_bmi260>;
			port = <&i2c_sensor>;
			rot-standard-ref = <&base_rot_ref>;
			default-range = <1000>; /* dps */
			drv-data = <&bmi260_data>;
			i2c-spi-addr-flags = "BMI260_ADDR0_FLAGS";
		};

		als_clear: base-als-clear {
			compatible = "cros-ec,tcs3400-clear";
			status = "okay";

			label = "Clear Light";
			active-mask = "SENSOR_ACTIVE_S0_S3";
			location = "MOTIONSENSE_LOC_BASE";
			port = <&i2c_sensor>;
			default-range = <0x10000>;
			drv-data = <&tcs_clear_data>;
			i2c-spi-addr-flags = "TCS3400_I2C_ADDR_FLAGS";
			configs {
				compatible =
					"cros-ec,motionsense-sensor-config";
				ec-s0 {
					/* Run ALS sensor in S0 */
					label = "SENSOR_CONFIG_EC_S0";
					odr = <1000>;
				};
			};
		};

		base-als-rgb {
			compatible = "cros-ec,tcs3400-rgb";
			status = "okay";

			label = "RGB Light";
			active-mask = "SENSOR_ACTIVE_S0_S3";
			location = "MOTIONSENSE_LOC_BASE";
			default-range = <0x10000>; /* scale = 1x, uscale = 0 */
			drv-data = <&tcs_rgb_data>;
		};
	};

	/*
	 * List of alternative motion sensors that creates
	 * motion_sensors_alt array.
	 */
	motionsense-sensor-alt {
		alt_lid_accel: lid-accel {
			compatible = "cros-ec,bma255";
			status = "okay";

			label = "Alt Lid Accel";
			active-mask = "SENSOR_ACTIVE_S0_S3";
			location = "MOTIONSENSE_LOC_LID";
			mutex = <&mutex_bma255>;
			port = <&i2c_sensor>;
			rot-standard-ref = <&lid_rot_ref>;
			default-range = <2>;
			drv-data = <&bma255_data>;
			i2c-spi-addr-flags = "BMA2x2_I2C_ADDR1_FLAGS";
			alternate-for = <&lid_accel>;
			alternate-ssfc-indicator = <&lid_sensor_bma255>;
			configs {
				compatible =
					"cros-ec,motionsense-sensor-config";
				ec-s0 {
					label = "SENSOR_CONFIG_EC_S0";
					odr = <(10000 | ROUND_UP_FLAG)>;
				};
				ec-s3 {
					label = "SENSOR_CONFIG_EC_S3";
					odr = <(10000 | ROUND_UP_FLAG)>;
				};
			};
		};
	};

	motionsense-sensor-info {
		compatible = "cros-ec,motionsense-sensor-info";

		/* list of entries for motion_als_sensors */
		als-sensors = <&als_clear>;
		/*
		 * list of GPIO interrupts that have to
		 * be enabled at initial stage
		 */
		sensor-irqs = <&gpio_ec_imu_int_l &gpio_ec_als_rgb_int_l>;
		/* list of sensors in force mode */
		accel-force-mode-sensors = <&lid_accel &als_clear>;
	};
};
```

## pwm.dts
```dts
/* Copyright 2021 The Chromium OS Authors. All rights reserved.
 * Use of this source code is governed by a BSD-style license that can be
 * found in the LICENSE file.
 */

/ {
	named-pwms {
		compatible = "named-pwms";

		pwm_fan: fan_pwm {
			pwms = <&pwm5 0 0>;
			frequency = <25000>;
		};
	};

};

/* Fan control */
&pwm5 {
	status = "okay";
	drive-open-drain;
};
```

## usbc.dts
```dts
/ {
	usbc {
		port0: usbc-port0 {
			bc12 {
				compatible = "pericom,pi3usb9201";
				port = <&i2c_usb_c0>;
				irq = <&int_usb_c0_bc12>;
			};
		};

		port1: usbc-port1 {
			bc12 {
				compatible = "pericom,pi3usb9201";
				port = <&i2c_usb_c1>;
				irq = <&int_usb_c1_bc12>;
			};
		};
	};
};
```

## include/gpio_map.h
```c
<<<<<<< HEAD   (8c53b8 battery: Set EC_BATT_FLAG_INVALID_DATA correctly)
=======
/* Copyright 2020 The Chromium OS Authors. All rights reserved.
 * Use of this source code is governed by a BSD-style license that can be
 * found in the LICENSE file.
 */

#ifndef __ZEPHYR_GPIO_MAP_H
#define __ZEPHYR_GPIO_MAP_H

#include <devicetree.h>
#include <gpio_signal.h>

#include "extpower.h"
#include "lid_switch.h"
#include "power_button.h"

/*
 * Without https://github.com/zephyrproject-rtos/zephyr/pull/29282, we need
 * to manually link GPIO_ defines that platform/ec code expects to the
 * enum gpio_signal values that are generated by device tree bindings.
 *
 * Note we only need to create aliases for GPIOs that are referenced in common
 * platform/ec code.
 */
#define GPIO_TEMP_SENSOR_POWER GPIO_PG_EC_DSW_PWROK

/* Helper macros for generating CROS_EC_GPIO_INTERRUPTS */
#ifdef CONFIG_PLATFORM_EC_POWERSEQ
#define POWER_SIGNAL_INT(gpio, edge) \
	GPIO_INT(gpio, edge, power_signal_interrupt)
#define AP_PROCHOT_INT(gpio, edge) \
	GPIO_INT(gpio, edge, throttle_ap_prochot_input_interrupt)
#define POWER_BUTTON_INT(gpio, edge) \
	GPIO_INT(gpio, edge, power_button_interrupt)
#else
#define POWER_SIGNAL_INT(gpio, edge)
#define AP_PROCHOT_INT(gpio, edge)
#define POWER_BUTTON_INT(gpio, edge)
#endif

#ifdef CONFIG_PLATFORM_EC_USBC
#define TCPC_ALERT_INT(gpio, edge) GPIO_INT(gpio, edge, tcpc_alert_event)
#define PPC_INT(gpio, edge) GPIO_INT(gpio, edge, ppc_interrupt)
#define BC12_INT(gpio, edge) GPIO_INT(gpio, edge, bc12_interrupt)
#else
#define TCPC_ALERT_INT(gpio, edge)
#define PPC_INT(gpio, edge)
#define BC12_INT(gpio, edge)
#endif

#ifdef CONFIG_PLATFORM_EC_ALS_TCS3400
#define TCS3400_INT(gpio, edge) GPIO_INT(gpio, edge, tcs3400_interrupt)
#else
#define TCS3400_INT(gpio, edge)
#endif

#ifdef CONFIG_PLATFORM_EC_ACCELGYRO_BMI260
#define BMI260_INT(gpio, edge) GPIO_INT(gpio, edge, bmi260_interrupt)
#else
#define BMI260_INT(gpio, edge)
#endif

#ifdef CONFIG_PLATFORM_EC_GMR_TABLET_MODE
#define GMR_TABLET_MODE_INT(gpio, edge) GPIO_INT(gpio, edge, \
						 gmr_tablet_switch_isr)
#define GMR_TABLET_MODE_GPIO_L	GPIO_TABLET_MODE_L
#else
#define GMR_TABLET_MODE_INT(gpio, edge)
#endif

#define GPIO_EC_BATT_PRES_ODL GPIO_BATT_PRES_ODL

/*
 * Set EC_CROS_GPIO_INTERRUPTS to a space-separated list of GPIO_INT items.
 *
 * Each GPIO_INT requires three parameters:
 *   gpio_signal - The enum gpio_signal for the interrupt gpio
 *   interrupt_flags - The interrupt-related flags (e.g. GPIO_INT_EDGE_BOTH)
 *   handler - The platform/ec interrupt handler.
 *
 * Ensure that this files includes all necessary headers to declare all
 * referenced handler functions.
 *
 * For example, one could use the follow definition:
 * #define EC_CROS_GPIO_INTERRUPTS \
 *   GPIO_INT(NAMED_GPIO(h1_ec_pwr_btn_odl), GPIO_INT_EDGE_BOTH, button_print)
 */
#define EC_CROS_GPIO_INTERRUPTS                                            \
	BMI260_INT(GPIO_EC_IMU_INT_L, GPIO_INT_EDGE_FALLING)               \
	GMR_TABLET_MODE_INT(GPIO_TABLET_MODE_L, GPIO_INT_EDGE_BOTH)        \
	GPIO_INT(GPIO_AC_PRESENT, GPIO_INT_EDGE_BOTH, extpower_interrupt)  \
	GPIO_INT(GPIO_LID_OPEN, GPIO_INT_EDGE_BOTH, lid_interrupt)         \
	GPIO_INT(GPIO_EC_WP_L, GPIO_INT_EDGE_BOTH, switch_interrupt)       \
	POWER_SIGNAL_INT(GPIO_PCH_SLP_S0_L, GPIO_INT_EDGE_BOTH)            \
	POWER_SIGNAL_INT(GPIO_PCH_SLP_S3_L, GPIO_INT_EDGE_BOTH)            \
	POWER_SIGNAL_INT(GPIO_PCH_SLP_SUS_L, GPIO_INT_EDGE_BOTH)           \
	POWER_SIGNAL_INT(GPIO_PG_EC_DSW_PWROK, GPIO_INT_EDGE_BOTH)         \
	POWER_SIGNAL_INT(GPIO_PG_EC_RSMRST_ODL, GPIO_INT_EDGE_BOTH)        \
	POWER_SIGNAL_INT(GPIO_PCH_DSW_PWROK, GPIO_INT_EDGE_BOTH)           \
	POWER_SIGNAL_INT(GPIO_PG_EC_ALL_SYS_PWRGD, GPIO_INT_EDGE_BOTH)     \
	POWER_BUTTON_INT(GPIO_POWER_BUTTON_L, GPIO_INT_EDGE_BOTH)          \
	TCPC_ALERT_INT(GPIO_USB_C0_TCPC_INT_ODL, GPIO_INT_EDGE_BOTH)       \
	TCPC_ALERT_INT(GPIO_USB_C1_TCPC_INT_ODL, GPIO_INT_EDGE_BOTH)       \
	TCS3400_INT(GPIO_EC_ALS_RGB_INT_L, GPIO_INT_EDGE_FALLING)          \
	PPC_INT(GPIO_USB_C0_PPC_INT_ODL, GPIO_INT_EDGE_BOTH)               \
	PPC_INT(GPIO_USB_C1_PPC_INT_ODL, GPIO_INT_EDGE_BOTH)               \
	BC12_INT(GPIO_USB_C0_BC12_INT_ODL, GPIO_INT_EDGE_BOTH)             \
	BC12_INT(GPIO_USB_C1_MIX_INT_ODL, GPIO_INT_EDGE_BOTH)              \
	AP_PROCHOT_INT(GPIO_EC_PROCHOT_IN_L, GPIO_INT_EDGE_BOTH)           \
	GPIO_INT(GPIO_VOLUME_DOWN_L, GPIO_INT_EDGE_BOTH, button_interrupt) \
	GPIO_INT(GPIO_VOLUME_UP_L, GPIO_INT_EDGE_BOTH, button_interrupt)

#endif /* __ZEPHYR_GPIO_MAP_H */
>>>>>>> CHANGE (eb25e8 Merge remote-tracking branch cros/main into firmware-dedede-)
```

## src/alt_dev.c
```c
/* Copyright 2021 The Chromium OS Authors. All rights reserved.
 * Use of this source code is governed by a BSD-style license that can be
 * found in the LICENSE file.
 */

#include "i2c/i2c.h"
#include "i2c.h"
#include "hooks.h"
#include "motionsense_sensors.h"

static void check_alternate_devices(void)
{
	motion_sensors_check_ssfc();
}
DECLARE_HOOK(HOOK_INIT, check_alternate_devices, HOOK_PRIO_INIT_I2C + 2);
```
